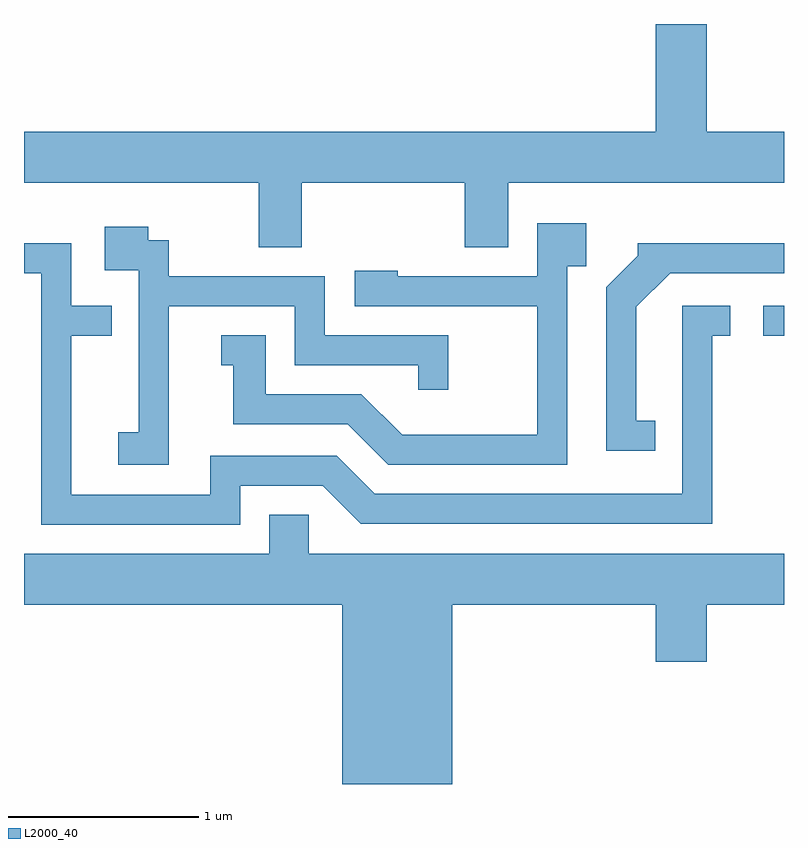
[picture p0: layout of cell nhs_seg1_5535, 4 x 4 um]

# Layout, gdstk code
import gdstk
lib = gdstk.Library(unit=1e-6, precision=1e-09)
def R(c, l, rs):  # rectangles x0, y0, x1, y1
    for r in rs: c.add(gdstk.rectangle(r[:2], r[2:], *l))
def P(c, l, *ps):  # polygons
    for p in ps: c.add(gdstk.Polygon(p, *l))
L2000_40 = (2000, 40)

nhs_seg1_5535 = lib.new_cell('nhs_seg1_5535')
R(nhs_seg1_5535, L2000_40, [(355.503,932.071,355.611,932.229)])
P(nhs_seg1_5535, L2000_40, [(353.074,932.876),(353.931,932.876),(353.931,932.536),(354.159,932.536),(354.159,932.876),(355.611,932.876),(355.611,933.144),(355.204,933.144),(355.204,933.712),(354.936,933.712),(354.936,933.144),(351.611,933.144),(351.611,932.876),(352.846,932.876),(352.846,932.536),(353.074,932.536)],
  [(354.469,932.436),(354.569,932.436),(354.569,932.664),(354.311,932.664),(354.311,932.384),(353.579,932.384),(353.579,932.414),(353.351,932.414),(353.351,932.226),(354.311,932.226),(354.311,931.549),(353.602,931.549),(353.387,931.764),(352.884,931.764),(352.884,932.074),(352.648,932.074),(352.648,931.916),(352.711,931.916),(352.711,931.606),(353.314,931.606),(353.529,931.391),(354.469,931.391)],
  [(352.374,932.226),(353.036,932.226),(353.036,931.916),(353.686,931.916),(353.686,931.788),(353.844,931.788),(353.844,932.074),(353.194,932.074),(353.194,932.384),(352.374,932.384),(352.374,932.574),(352.264,932.574),(352.264,932.644),(352.036,932.644),(352.036,932.416),(352.216,932.416),(352.216,931.564),(352.106,931.564),(352.106,931.391),(352.374,931.391)],
  [(354.933,931.624),(354.834,931.624),(354.834,932.224),(355.012,932.401),(355.611,932.401),(355.611,932.559),(354.841,932.559),(354.841,932.492),(354.676,932.327),(354.676,931.466),(354.933,931.466)],
  [(352.749,931.281),(353.184,931.281),(353.384,931.081),(355.234,931.081),(355.234,932.071),(355.328,932.071),(355.328,932.229),(355.076,932.229),(355.076,931.239),(353.457,931.239),(353.257,931.439),(352.591,931.439),(352.591,931.234),(351.859,931.234),(351.859,932.071),(352.073,932.071),(352.073,932.229),(351.859,932.229),(351.859,932.559),(351.611,932.559),(351.611,932.401),(351.701,932.401),(351.701,931.076),(352.749,931.076)],
  [(353.864,930.656),(354.936,930.656),(354.936,930.356),(355.204,930.356),(355.204,930.656),(355.611,930.656),(355.611,930.924),(353.109,930.924),(353.109,931.129),(352.901,931.129),(352.901,930.924),(351.611,930.924),(351.611,930.656),(353.286,930.656),(353.286,929.712),(353.864,929.712)])

lib.write_gds('nhs_seg1_5535.gds')
